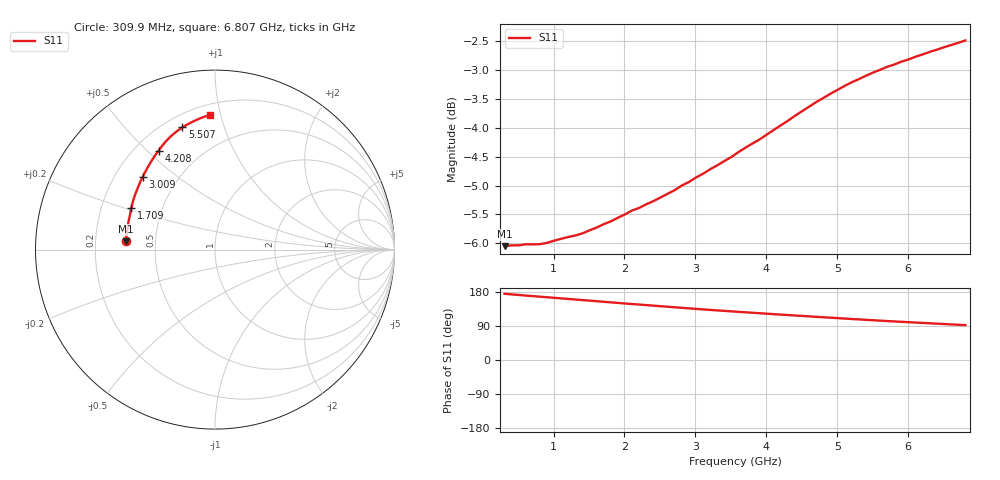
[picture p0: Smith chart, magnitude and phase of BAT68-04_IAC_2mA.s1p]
! Infineon Technologies  Discrete & RF Semiconductors
! BAT68-04
! IAC = 2 mA
! One-Port S-Parameters
# Hz  S  MA  R  50
!f  S11
!Hz  Mag  Ang
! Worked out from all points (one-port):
!   66 points, 309.9 MHz to 6.807 GHz, reference 50 ohm
!   lowest |S11| = -6.0 dB at 309.9 MHz (marker M1), VSWR 2.99, Z = 16.8 + j2.04 ohm
!   |S11| at or under -10 dB: nowhere
!   S11 on the Smith chart (normalised r, x): 309.9 MHz: 0.34, +0.04; 1.709 GHz: 0.33, +0.21; 3.009 GHz: 0.32, +0.38; 4.208 GHz: 0.29, +0.54; 5.507 GHz: 0.27, +0.73; 6.807 GHz: 0.27, +0.93
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3.0985e8  0.4983 174.7
6.097e8  0.5002 170.0
8.096e8  0.5003 167.1
1.2094e9  0.5076 161.1
1.4093e9  0.5113 158.1
1.50925e9  0.5144 156.7
1.70915e9  0.5207 153.6
2.009e9  0.5311 149.1
2.30885e9  0.5419 144.8
2.6087e9  0.5533 140.6
2.70865e9  0.5573 139.1
2.8086e9  0.5625 137.8
3.0085e9  0.5716 134.8
3.4083e9  0.5906 129.6
3.50825e9  0.5955 128.4
3.6082e9  0.6014 127.0
3.90805e9  0.6168 123.4
4.2079e9  0.6345 119.7
4.4078e9  0.6467 117.4
4.70765e9  0.6647 113.9
4.90755e9  0.6757 111.6
5.2074e9  0.6914 108.2
5.50725e9  0.7048 104.9
5.6072e9  0.7087 103.8
5.70715e9  0.713 102.8
6.007e9  0.7236 99.8
6.30685e9  0.7346 96.8
6.8066e9  0.7514 92.0
